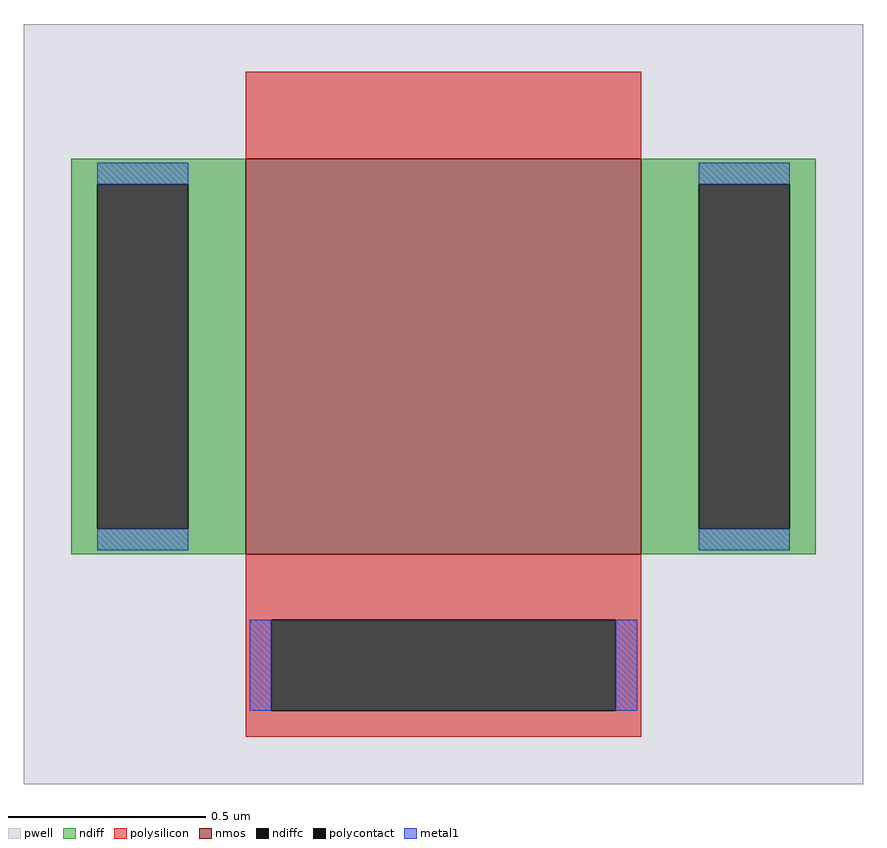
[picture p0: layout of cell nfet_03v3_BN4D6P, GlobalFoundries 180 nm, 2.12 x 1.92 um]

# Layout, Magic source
magic
tech gf180mcuD
magscale 1 10
<< pwell >>
rect -212 -192 212 192
<< nmos >>
rect -100 -76 100 124
<< ndiff >>
rect -188 111 -100 124
rect -188 -63 -175 111
rect -129 -63 -100 111
rect -188 -76 -100 -63
rect 100 111 188 124
rect 100 -63 129 111
rect 175 -63 188 111
rect 100 -76 188 -63
<< ndiffc >>
rect -175 -63 -129 111
rect 129 -63 175 111
<< polysilicon >>
rect -100 124 100 168
rect -100 -109 100 -76
rect -100 -155 -87 -109
rect 87 -155 100 -109
rect -100 -168 100 -155
<< polycontact >>
rect -87 -155 87 -109
<< metal1 >>
rect -175 111 -129 122
rect -175 -74 -129 -63
rect 129 111 175 122
rect 129 -74 175 -63
rect -98 -155 -87 -109
rect 87 -155 98 -109
<< properties >>
string gencell nfet_03v3
string library gf180mcu
string parameters w 1 l 1 m 1 nf 1 diffcov 100 polycov 100 guard 0 glc 0 grc 0 gtc 0 gbc 0 tbcov 100 rlcov 100 topc 0 botc 1 poverlap 0 doverlap 1 lmin 0.28 wmin 0.22 class mosfet full_metal 0 compatible {nfet_03v3 nfet_05v0 nfet_06v0 nfet_06v0_nvt}
<< end >>
